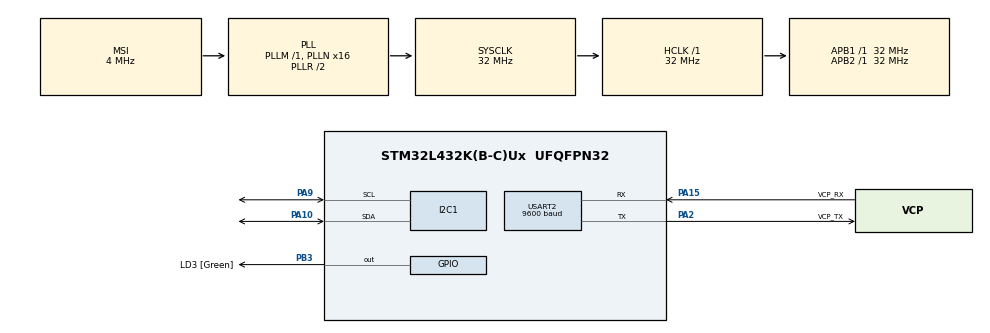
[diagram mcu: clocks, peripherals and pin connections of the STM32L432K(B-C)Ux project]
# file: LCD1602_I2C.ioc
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I2C1.Timing=0x00707CBB
Mcu.Family=STM32L4
Mcu.Name=STM32L432K(B-C)Ux
Mcu.Package=UFQFPN32
NVIC.PriorityGroup=NVIC_PRIORITYGROUP_4
PA0.GPIO_Label=MCO [High speed clock in]
PA0.Mode=HSE-External-Clock-Source-for-LittleOrca
PA0.Signal=RCC_CK_IN
PA10.GPIO_Pu=GPIO_PULLUP
PA10.GPIO_Speed=GPIO_SPEED_FREQ_LOW
PA10.Mode=I2C
PA10.Signal=I2C1_SDA
PA13\ (JTMS-SWDIO).GPIO_Label=SWDIO
PA13\ (JTMS-SWDIO).Mode=Serial_Wire
PA13\ (JTMS-SWDIO).Signal=SYS_JTMS-SWDIO
PA14\ (JTCK-SWCLK).GPIO_Label=SWCLK
PA14\ (JTCK-SWCLK).Mode=Serial_Wire
PA14\ (JTCK-SWCLK).Signal=SYS_JTCK-SWCLK
PA15\ (JTDI).GPIO_Label=VCP_RX
PA15\ (JTDI).Mode=Asynchronous
PA15\ (JTDI).Signal=USART2_RX
PA2.GPIO_Label=VCP_TX
PA2.Mode=Asynchronous
PA2.Signal=USART2_TX
PA9.GPIO_Pu=GPIO_PULLUP
PA9.GPIO_Speed=GPIO_SPEED_FREQ_LOW
PA9.Mode=I2C
PA9.Signal=I2C1_SCL
PB3\ (JTDO-TRACESWO).GPIO_Label=LD3 [Green]
PB3\ (JTDO-TRACESWO).Signal=GPIO_Output
PC14-OSC32_IN\ (PC14).Mode=LSE-External-Oscillator
PC14-OSC32_IN\ (PC14).Signal=RCC_OSC32_IN
PC15-OSC32_OUT\ (PC15).Mode=LSE-External-Oscillator
PC15-OSC32_OUT\ (PC15).Signal=RCC_OSC32_OUT
ProjectManager.HeapSize=0x200
ProjectManager.StackSize=0x400
ProjectManager.TargetToolchain=STM32CubeIDE
RCC.AHBFreq_Value=32000000
RCC.APB1Freq_Value=32000000
RCC.APB1TimFreq_Value=32000000
RCC.APB2Freq_Value=32000000
RCC.APB2TimFreq_Value=32000000
RCC.CortexFreq_Value=32000000
RCC.HCLKFreq_Value=32000000
RCC.HSE_VALUE=8000000
RCC.HSI16_VALUE=16000000
RCC.HSI48_VALUE=48000000
RCC.HSI_VALUE=16000000
RCC.MSI_VALUE=4000000
RCC.PLLMUL=RCC_PLLMUL_4
RCC.PLLN=16
RCC.SYSCLKFreq_VALUE=32000000
RCC.SYSCLKSource=RCC_SYSCLKSOURCE_PLLCLK
RCC.VCOOutputFreq_Value=64000000
USART2.BaudRate=9600
USART2.VirtualMode-Asynchronous=VM_ASYNC
board=NUCLEO-L432KC

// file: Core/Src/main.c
/* USER CODE BEGIN Header */
/**
  ******************************************************************************
  * @file           : main.c
  * @brief          : Main program body
  ******************************************************************************
  * @attention
  *
  * Copyright (c) 2022 STMicroelectronics.
  * All rights reserved.
  *
  * This software is licensed under terms that can be found in the LICENSE file
  * in the root directory of this software component.
  * If no LICENSE file comes with this software, it is provided AS-IS.
  *
  ******************************************************************************
  */
/* USER CODE END Header */
#include "main.h"

/* USER CODE BEGIN Includes */
#include "LCD_I2C.h"
/* USER CODE END Includes */

/* USER CODE BEGIN PTD */
#include <stdio.h>
#include <stdint.h>
#include <stdlib.h>
#include <string.h>
/* USER CODE END PTD */

I2C_HandleTypeDef hi2c1;

UART_HandleTypeDef huart2;

void SystemClock_Config(void);
static void MX_GPIO_Init(void);
static void MX_USART2_UART_Init(void);
static void MX_I2C1_Init(void);
/* USER CODE BEGIN PFP */
int __io_putchar(int ch)
{
	HAL_UART_Transmit(&huart2, (uint8_t*)&ch, 1, 1000);
	return ch;
}
/* USER CODE END PFP */

int main(void)
{

  /* MCU Configuration--------------------------------------------------------*/

  /* Reset of all peripherals, Initializes the Flash interface and the Systick. */
  HAL_Init();

  /* Configure the system clock */
  SystemClock_Config();

  /* Initialize all configured peripherals */
  MX_GPIO_Init();
  MX_USART2_UART_Init();
  MX_I2C1_Init();
  /* USER CODE BEGIN 2 */
  printf("Device Started!\r\n");
  LCD_Begin(&hi2c1, 0x27, 2, 16, 1, 1);
  LCD_SendString("AHOJ");
  HAL_Delay(2000);
  LCD_TurnOff();
  HAL_Delay(2000);
  LCD_TurnOn(1);
  LCD_SetCursorPosition(1, 8);

  HAL_Delay(2000);
  LCD_CursorOff();
  /* USER CODE END 2 */

  /* Infinite loop */
  /* USER CODE BEGIN WHILE */
  while (1)
  {
	printf("%X\r\n", lcd_data);
	HAL_Delay(2000);
    /* USER CODE END WHILE */

  }
}

void SystemClock_Config(void)
{
  RCC_OscInitTypeDef RCC_OscInitStruct = {0};
  RCC_ClkInitTypeDef RCC_ClkInitStruct = {0};

  /** Configure the main internal regulator output voltage
  */
  if (HAL_PWREx_ControlVoltageScaling(PWR_REGULATOR_VOLTAGE_SCALE1) != HAL_OK)
  {
    Error_Handler();
  }
  /** Configure LSE Drive Capability
  */
  HAL_PWR_EnableBkUpAccess();
  __HAL_RCC_LSEDRIVE_CONFIG(RCC_LSEDRIVE_LOW);
  /** Initializes the RCC Oscillators according to the specified parameters
  * in the RCC_OscInitTypeDef structure.
  */
  RCC_OscInitStruct.OscillatorType = RCC_OSCILLATORTYPE_LSE|RCC_OSCILLATORTYPE_MSI;
  RCC_OscInitStruct.LSEState = RCC_LSE_ON;
  RCC_OscInitStruct.MSIState = RCC_MSI_ON;
  RCC_OscInitStruct.MSICalibrationValue = 0;
  RCC_OscInitStruct.MSIClockRange = RCC_MSIRANGE_6;
  RCC_OscInitStruct.PLL.PLLState = RCC_PLL_ON;
  RCC_OscInitStruct.PLL.PLLSource = RCC_PLLSOURCE_MSI;
  RCC_OscInitStruct.PLL.PLLM = 1;
  RCC_OscInitStruct.PLL.PLLN = 16;
  RCC_OscInitStruct.PLL.PLLP = RCC_PLLP_DIV7;
  RCC_OscInitStruct.PLL.PLLQ = RCC_PLLQ_DIV2;
  RCC_OscInitStruct.PLL.PLLR = RCC_PLLR_DIV2;
  if (HAL_RCC_OscConfig(&RCC_OscInitStruct) != HAL_OK)
  {
    Error_Handler();
  }
  /** Initializes the CPU, AHB and APB buses clocks
  */
  RCC_ClkInitStruct.ClockType = RCC_CLOCKTYPE_HCLK|RCC_CLOCKTYPE_SYSCLK
                              |RCC_CLOCKTYPE_PCLK1|RCC_CLOCKTYPE_PCLK2;
  RCC_ClkInitStruct.SYSCLKSource = RCC_SYSCLKSOURCE_PLLCLK;
  RCC_ClkInitStruct.AHBCLKDivider = RCC_SYSCLK_DIV1;
  RCC_ClkInitStruct.APB1CLKDivider = RCC_HCLK_DIV1;
  RCC_ClkInitStruct.APB2CLKDivider = RCC_HCLK_DIV1;

  if (HAL_RCC_ClockConfig(&RCC_ClkInitStruct, FLASH_LATENCY_1) != HAL_OK)
  {
    Error_Handler();
  }
  /** Enable MSI Auto calibration
  */
  HAL_RCCEx_EnableMSIPLLMode();
}

static void MX_I2C1_Init(void)
{

  hi2c1.Instance = I2C1;
  hi2c1.Init.Timing = 0x00707CBB;
  hi2c1.Init.OwnAddress1 = 0;
  hi2c1.Init.AddressingMode = I2C_ADDRESSINGMODE_7BIT;
  hi2c1.Init.DualAddressMode = I2C_DUALADDRESS_DISABLE;
  hi2c1.Init.OwnAddress2 = 0;
  hi2c1.Init.OwnAddress2Masks = I2C_OA2_NOMASK;
  hi2c1.Init.GeneralCallMode = I2C_GENERALCALL_DISABLE;
  hi2c1.Init.NoStretchMode = I2C_NOSTRETCH_DISABLE;
  if (HAL_I2C_Init(&hi2c1) != HAL_OK)
  {
    Error_Handler();
  }
  /** Configure Analogue filter
  */
  if (HAL_I2CEx_ConfigAnalogFilter(&hi2c1, I2C_ANALOGFILTER_ENABLE) != HAL_OK)
  {
    Error_Handler();
  }
  /** Configure Digital filter
  */
  if (HAL_I2CEx_ConfigDigitalFilter(&hi2c1, 0) != HAL_OK)
  {
    Error_Handler();
  }

}

static void MX_USART2_UART_Init(void)
{

  huart2.Instance = USART2;
  huart2.Init.BaudRate = 9600;
  huart2.Init.WordLength = UART_WORDLENGTH_8B;
  huart2.Init.StopBits = UART_STOPBITS_1;
  huart2.Init.Parity = UART_PARITY_NONE;
  huart2.Init.Mode = UART_MODE_TX_RX;
  huart2.Init.HwFlowCtl = UART_HWCONTROL_NONE;
  huart2.Init.OverSampling = UART_OVERSAMPLING_16;
  huart2.Init.OneBitSampling = UART_ONE_BIT_SAMPLE_DISABLE;
  huart2.AdvancedInit.AdvFeatureInit = UART_ADVFEATURE_NO_INIT;
  if (HAL_UART_Init(&huart2) != HAL_OK)
  {
    Error_Handler();
  }

}

static void MX_GPIO_Init(void)
{
  GPIO_InitTypeDef GPIO_InitStruct = {0};

  /* GPIO Ports Clock Enable */
  __HAL_RCC_GPIOC_CLK_ENABLE();
  __HAL_RCC_GPIOA_CLK_ENABLE();
  __HAL_RCC_GPIOB_CLK_ENABLE();

  /*Configure GPIO pin Output Level */
  HAL_GPIO_WritePin(LD3_GPIO_Port, LD3_Pin, GPIO_PIN_RESET);

  /*Configure GPIO pin : LD3_Pin */
  GPIO_InitStruct.Pin = LD3_Pin;
  GPIO_InitStruct.Mode = GPIO_MODE_OUTPUT_PP;
  GPIO_InitStruct.Pull = GPIO_NOPULL;
  GPIO_InitStruct.Speed = GPIO_SPEED_FREQ_LOW;
  HAL_GPIO_Init(LD3_GPIO_Port, &GPIO_InitStruct);

}

void Error_Handler(void)
{
  __disable_irq();
  while (1)
  {
  }
}
